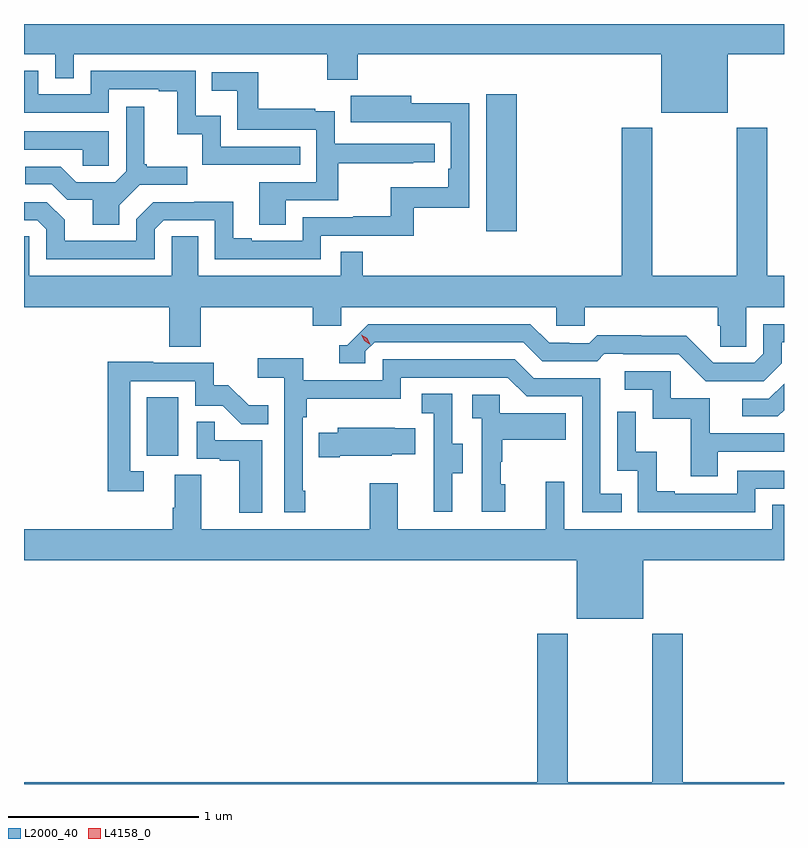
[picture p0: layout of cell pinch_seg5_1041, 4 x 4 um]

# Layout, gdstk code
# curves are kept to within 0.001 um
import gdstk
lib = gdstk.Library(unit=1e-6, precision=1e-09)
def R(c, l, rs):  # rectangles x0, y0, x1, y1
    for r in rs: c.add(gdstk.rectangle(r[:2], r[2:], *l))
def P(c, l, *ps):  # polygons
    for p in ps: c.add(gdstk.Polygon(p, *l))
L2000_40 = (2000, 40)
L4158_0 = (4158, 0)

pinch_seg5_1041 = lib.new_cell('pinch_seg5_1041')
R(pinch_seg5_1041, L2000_40, [(879.272,870.63,879.436,870.937), (881.057,871.812,881.218,872.533)])
P(pinch_seg5_1041, L2000_40, [(882.328,872.744),(882.625,872.744),(882.625,872.902),(878.625,872.902),(878.625,872.744),(878.79,872.744),(878.79,872.617),(878.886,872.617),(878.886,872.744),(880.222,872.744),(880.222,872.609),(880.382,872.609),(880.382,872.744),(881.978,872.744),(881.978,872.435),(882.328,872.435)],
  [(880.079,872.256),(879.66,872.256),(879.66,872.419),(879.528,872.419),(879.528,872.655),(878.976,872.655),(878.976,872.532),(878.7,872.532),(878.7,872.655),(878.625,872.655),(878.625,872.436),(879.072,872.436),(879.072,872.559),(879.335,872.559),(879.335,872.547),(879.431,872.547),(879.431,872.321),(879.564,872.321),(879.564,872.16),(880.079,872.16)],
  [(880.003,871.974),(880.28,871.974),(880.28,872.17),(880.673,872.17),(880.673,872.175),(880.786,872.175),(880.786,872.271),(880.26,872.271),(880.26,872.443),(880.157,872.443),(880.157,872.455),(879.859,872.455),(879.859,872.649),(879.613,872.649),(879.613,872.552),(879.748,872.552),(879.748,872.346),(880.164,872.346),(880.164,872.07),(879.863,872.07),(879.863,871.846),(880.003,871.846)],
  [(879.312,871.821),(879.36,871.869),(879.63,871.869),(879.63,871.665),(880.188,871.665),(880.188,871.788),(880.675,871.788),(880.675,871.935),(880.968,871.935),(880.968,872.486),(880.663,872.486),(880.663,872.524),(880.345,872.524),(880.345,872.384),(880.872,872.385),(880.872,872.14),(880.859,872.14),(880.859,872.044),(880.554,872.044),(880.554,871.889),(880.357,871.889),(880.357,871.884),(880.092,871.884),(880.092,871.761),(879.823,871.761),(879.823,871.774),(879.727,871.774),(879.727,871.967),(879.522,871.967),(879.522,871.965),(879.306,871.965),(879.216,871.875),(879.216,871.761),(878.839,871.761),(878.839,871.871),(878.745,871.965),(878.625,871.965),(878.625,871.869),(878.694,871.869),(878.742,871.821),(878.742,871.665),(879.312,871.665)],
  [(879.127,871.948),(879.234,872.055),(879.484,872.055),(879.484,872.152),(879.271,872.152),(879.271,872.164),(879.259,872.164),(879.259,872.467),(879.162,872.467),(879.162,872.127),(879.105,872.07),(878.899,872.07),(878.818,872.151),(878.631,872.151),(878.631,872.058),(878.772,872.058),(878.852,871.978),(878.987,871.978),(878.987,871.846),(879.127,871.846)],
  [(879.554,871.412),(880.145,871.412),(880.145,871.314),(880.296,871.314),(880.296,871.412),(881.427,871.412),(881.427,871.314),(881.577,871.314),(881.577,871.412),(882.275,871.412),(882.275,871.314),(882.289,871.314),(882.289,871.204),(882.426,871.204),(882.426,871.412),(882.625,871.412),(882.625,871.576),(882.536,871.576),(882.536,872.356),(882.376,872.356),(882.376,871.576),(881.931,871.576),(881.931,872.356),(881.771,872.356),(881.771,871.576),(880.409,871.576),(880.409,871.703),(880.293,871.703),(880.293,871.576),(879.541,871.576),(879.541,871.784),(879.402,871.784),(879.402,871.576),(878.652,871.576),(878.652,871.784),(878.625,871.784),(878.625,871.412),(879.389,871.412),(879.389,871.204),(879.554,871.204)],
  [(879.072,872.337),(878.625,872.337),(878.625,872.241),(878.935,872.241),(878.935,872.157),(879.072,872.157)],
  [(882.613,871.117),(882.613,871.227),(882.625,871.227),(882.625,871.323),(882.516,871.323),(882.516,871.167),(882.468,871.119),(882.252,871.119),(882.11,871.261),(881.874,871.261),(881.874,871.264),(881.641,871.264),(881.599,871.221),(881.496,871.221),(881.496,871.224),(881.389,871.224),(881.29,871.323),(880.437,871.323),(880.326,871.212),(880.283,871.212),(880.283,871.116),(880.422,871.116),(880.422,871.179),(880.47,871.227),(881.253,871.227),(881.352,871.128),(881.641,871.128),(881.68,871.167),(881.779,871.167),(881.779,871.164),(882.072,871.164),(882.213,871.023),(882.519,871.023)],
  [(880.105,870.445),(880.092,870.445),(880.092,870.833),(880.112,870.833),(880.112,870.929),(880.608,870.929),(880.608,871.041),(881.172,871.041),(881.271,870.942),(881.562,870.942),(881.562,870.333),(881.771,870.333),(881.771,870.429),(881.658,870.429),(881.658,871.038),(881.308,871.038),(881.209,871.137),(880.512,871.137),(880.512,871.026),(880.094,871.026),(880.094,871.142),(879.855,871.142),(879.855,871.04),(879.996,871.04),(879.996,870.333),(880.105,870.333)],
  [(879.256,870.549),(879.183,870.549),(879.183,871.023),(879.525,871.023),(879.525,870.894),(879.67,870.894),(879.768,870.796),(879.911,870.796),(879.911,870.895),(879.807,870.895),(879.7,871.002),(879.624,871.002),(879.624,871.119),(879.305,871.119),(879.305,871.124),(879.067,871.124),(879.067,870.444),(879.256,870.444)],
  [(882.277,870.651),(882.625,870.651),(882.625,870.747),(882.235,870.747),(882.235,870.933),(882.03,870.933),(882.03,871.074),(881.787,871.074),(881.787,870.978),(881.934,870.978),(881.934,870.825),(882.133,870.825),(882.133,870.522),(882.277,870.522)],
  [(882.625,870.87),(882.625,871.009),(882.546,870.93),(882.405,870.93),(882.405,870.837),(882.592,870.837)],
  [(880.879,870.538),(880.933,870.538),(880.933,870.693),(880.878,870.693),(880.878,870.956),(880.719,870.956),(880.719,870.853),(880.782,870.853),(880.782,870.549),(880.781,870.549),(880.781,870.336),(880.879,870.336)],
  [(881.158,870.48),(881.133,870.48),(881.133,870.599),(881.143,870.599),(881.143,870.713),(881.477,870.713),(881.477,870.853),(881.13,870.853),(881.13,870.951),(880.983,870.951),(880.983,870.827),(881.034,870.827),(881.034,870.336),(881.158,870.336)],
  [(882.474,870.456),(882.625,870.456),(882.625,870.552),(882.378,870.552),(882.378,870.429),(882.049,870.429),(882.049,870.442),(881.954,870.442),(881.954,870.65),(881.844,870.65),(881.844,870.862),(881.748,870.862),(881.748,870.552),(881.856,870.552),(881.856,870.333),(882.474,870.333)],
  [(879.88,870.711),(879.629,870.711),(879.629,870.809),(879.534,870.809),(879.534,870.615),(879.655,870.615),(879.655,870.603),(879.758,870.603),(879.758,870.329),(879.88,870.329)],
  [(880.288,870.629),(880.56,870.629),(880.56,870.638),(880.685,870.638),(880.685,870.775),(880.577,870.775),(880.577,870.778),(880.275,870.778),(880.275,870.751),(880.177,870.751),(880.177,870.622),(880.288,870.622)],
  [(881.884,870.08),(882.625,870.08),(882.625,870.371),(882.564,870.371),(882.564,870.244),(881.469,870.244),(881.469,870.493),(881.372,870.493),(881.372,870.244),(880.591,870.244),(880.591,870.484),(880.444,870.484),(880.444,870.244),(879.559,870.244),(879.559,870.53),(879.419,870.53),(879.419,870.356),(879.407,870.356),(879.407,870.244),(878.625,870.244),(878.625,870.08),(881.534,870.08),(881.534,869.771),(881.884,869.771)],
  [(882.625,868.912),(882.092,868.912),(882.092,869.692),(881.932,869.692),(881.932,868.912),(881.487,868.912),(881.487,869.692),(881.327,869.692),(881.327,868.912),(878.625,868.912),(878.625,868.902),(882.625,868.902)])
P(pinch_seg5_1041, L4158_0, [(880.447,871.215),(880.416,871.234),(880.4,871.266),(880.4,871.266),(880.4,871.266),(880.431,871.247),(880.447,871.215),(880.447,871.215)])

lib.write_gds('pinch_seg5_1041.gds')
